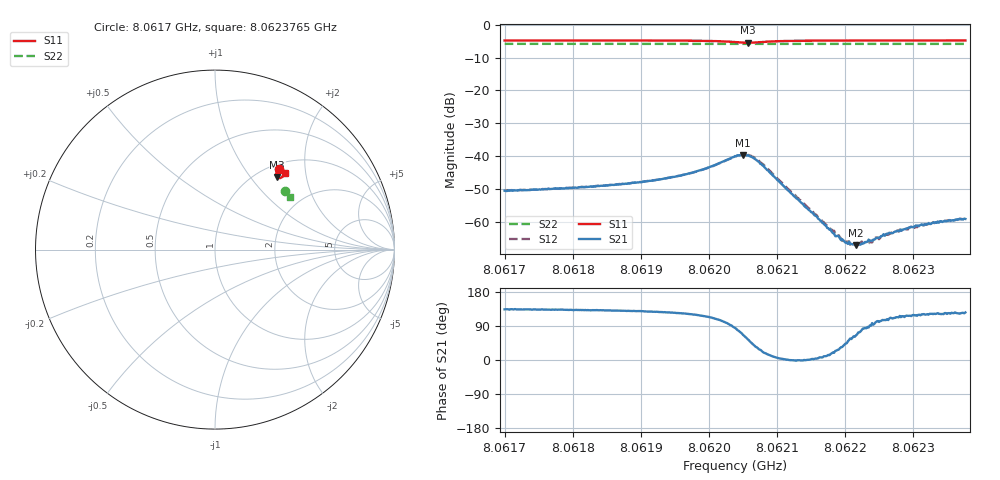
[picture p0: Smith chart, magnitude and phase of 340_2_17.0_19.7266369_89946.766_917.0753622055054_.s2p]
#  HZ  S  RI  R  50.00
! Rohde & Schwarz Vector Network Analyzer
! Rohde-Schwarz,ZNB20-2Port,1311601062101988,3.16
! Created: UTC 3/20/2024, 11:07:17 PM
! freq[Hz]  re:S11  im:S11  re:S21  im:S21  re:S12  im:S12  re:S22  im:S22
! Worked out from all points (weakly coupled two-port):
!   401 points, 8.0617 GHz to 8.0623765 GHz, reference 50 ohm
!   highest |S21| = -39.64 dB at 8.0620501 GHz (marker M1); lowest = -67.2 dB at 8.0622159 GHz (marker M2)
!   lowest |S11| = -5.5 dB at 8.0620569 GHz (marker M3), VSWR 3.27, Z = 60.9 + j68.4 ohm
!   |S11| at or under -10 dB: nowhere
!   |S22| runs from -5.9 to -5.8 dB; largest |S21 - S12| = 0.00052
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8.06170004e9  0.3584 0.4508  -0.00205 0.00215  -0.00194 0.00228  0.3919 0.3285
8.06181335e9  0.3661 0.4443  -0.00223 0.0025  -0.00211 0.00268  0.3963 0.3231
8.06188269e9  0.3712 0.4392  -0.00244 0.00294  -0.00225 0.00309  0.3988 0.3196
8.06192666e9  0.3749 0.435  -0.00262 0.00353  -0.00246 0.00367  0.4007 0.3174
8.06198924e9  0.3802 0.4236  -0.0028 0.0055  -0.00251 0.0056  0.4027 0.3138
8.06203828e9  0.3685 0.4002  0.000935 0.00997  0.00111 0.00972  0.4036 0.3107
8.06205012e9  0.3548 0.3991  0.00421 0.00954  0.0042 0.00968  0.4035 0.3101
8.06205688e9  0.3468 0.4032  0.00593 0.00839  0.00598 0.00849  0.4033 0.31
8.06206872e9  0.34 0.4165  0.00728 0.00505  0.00757 0.00526  0.4036 0.3103
8.06207718e9  0.3409 0.4255  0.00683 0.00312  0.0072 0.00306  0.404 0.3103
8.06215159e9  0.3676 0.4383  0.00137 7e-05  0.00146 -7.39e-05  0.4081 0.307
8.06218373e9  0.3728 0.4364  0.000625 0.000215  0.000708 0.000177  0.4093 0.3055
8.06219726e9  0.3745 0.4355  0.000411 0.000317  0.000434 0.000296  0.4098 0.3047
8.06220402e9  0.3754 0.4351  0.000299 0.000349  0.000372 0.00033  0.4102 0.3044
8.06221586e9  0.3766 0.4343  0.000186 0.000397  0.000192 0.000379  0.4104 0.3037
8.06222262e9  0.3773 0.4338  0.000112 0.000434  0.000153 0.000458  0.4108 0.3034
8.06223615e9  0.3786 0.4331  -1.03e-05 0.000504  2.19e-05 0.000521  0.4114 0.3028
8.06224461e9  0.3792 0.4326  -9.09e-05 0.000545  -3.56e-05 0.000572  0.4115 0.3022
8.06226491e9  0.3812 0.4313  -0.000228 0.000641  -0.000181 0.000623  0.4123 0.3013
8.06229704e9  0.3837 0.4294  -0.000368 0.000756  -0.000304 0.000771  0.4135 0.2995
8.06232579e9  0.3858 0.4278  -0.000485 0.000785  -0.000448 0.000823  0.4146 0.298
8.06237653e9  0.3891 0.4251  -0.000641 0.000898  -0.000562 0.000985  0.4163 0.2955
